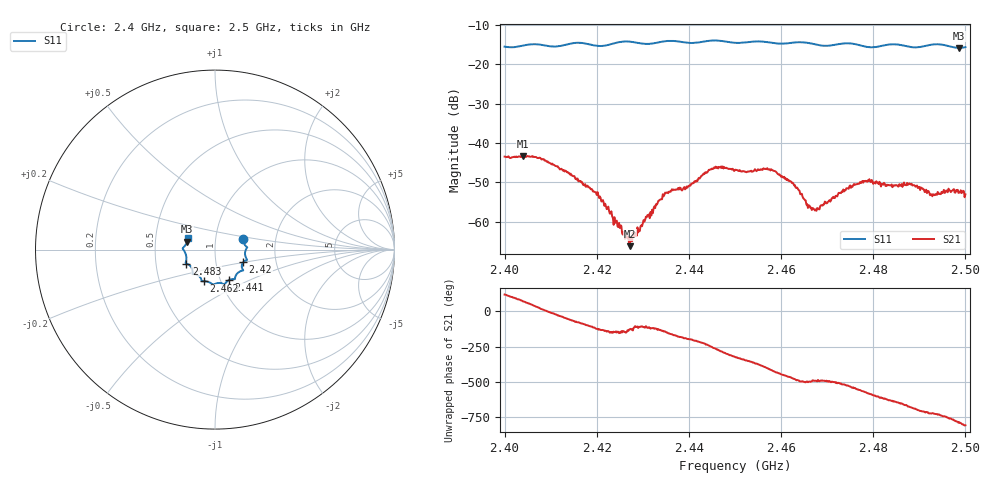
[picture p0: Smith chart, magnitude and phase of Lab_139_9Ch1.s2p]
# Hz S RI R 50
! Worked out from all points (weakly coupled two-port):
!   601 points, 2.4 GHz to 2.5 GHz, reference 50 ohm
!   highest |S21| = -43.28 dB at 2.404 GHz (marker M1); lowest = -66.2 dB at 2.4272 GHz (marker M2)
!   lowest |S11| = -15.8 dB at 2.4987 GHz (marker M3), VSWR 1.39, Z = 36.4 + j3.34 ohm
!   |S11| at or under -10 dB: start of sweep to end of sweep
!   S12 and S22 are empty: the file has one direction only
!   S11 on the Smith chart (normalised r, x): 2.4 GHz: 1.36, +0.17; 2.42 GHz: 1.36, -0.20; 2.441 GHz: 1.09, -0.39; 2.462 GHz: 0.83, -0.30; 2.483 GHz: 0.72, -0.12; 2.5 GHz: 0.73, +0.09
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2.4e9  0.1564 0.0604  -0.00343 0.00577  0 0  0 0
2.404e9  0.172 0.0193  0.00214 0.00651  0 0  0 0
2.408e9  0.1767 0.00797  0.0059 0.00186  0 0  0 0
2.416667e9  0.1779 -0.0582  0.000283 -0.00315  0 0  0 0
2.42e9  0.1567 -0.0708  -0.0012 -0.00182  0 0  0 0
2.427167e9  0.1553 -0.1168  -0.000297 -0.000388  0 0  0 0
2.433333e9  0.1128 -0.1525  -0.00106 -0.00148  0 0  0 0
2.435333e9  0.1114 -0.1639  -0.00205 -0.00115  0 0  0 0
2.441e9  0.0765 -0.1704  -0.00279 0.00132  0 0  0 0
2.445333e9  0.0536 -0.1937  -0.000795 0.00466  0 0  0 0
2.45e9  0.0262 -0.1859  0.00368 0.00271  0 0  0 0
2.4575e9  -0.0213 -0.1884  0.00292 -0.00361  0 0  0 0
2.462e9  -0.0621 -0.1764  -0.00104 -0.00311  0 0  0 0
2.466667e9  -0.0762 -0.1668  -0.00104 -0.000952  0 0  0 0
2.467833e9  -0.0801 -0.1578  -0.00112 -0.00099  0 0  0 0
2.477667e9  -0.1255 -0.1165  -0.00291 0.00154  0 0  0 0
2.483e9  -0.159 -0.0781  -9.25e-05 0.00295  0 0  0 0
2.483333e9  -0.1607 -0.0774  0.000147 0.00293  0 0  0 0
2.487833e9  -0.1595 -0.0502  0.00235 0.00197  0 0  0 0
2.492833e9  -0.1784 0.0027  0.0021 -0.000176  0 0  0 0
2.498667e9  -0.1555 0.0447  0.000829 -0.00223  0 0  0 0
2.5e9  -0.1527 0.0633  -5.5e-05 -0.00222  0 0  0 0
